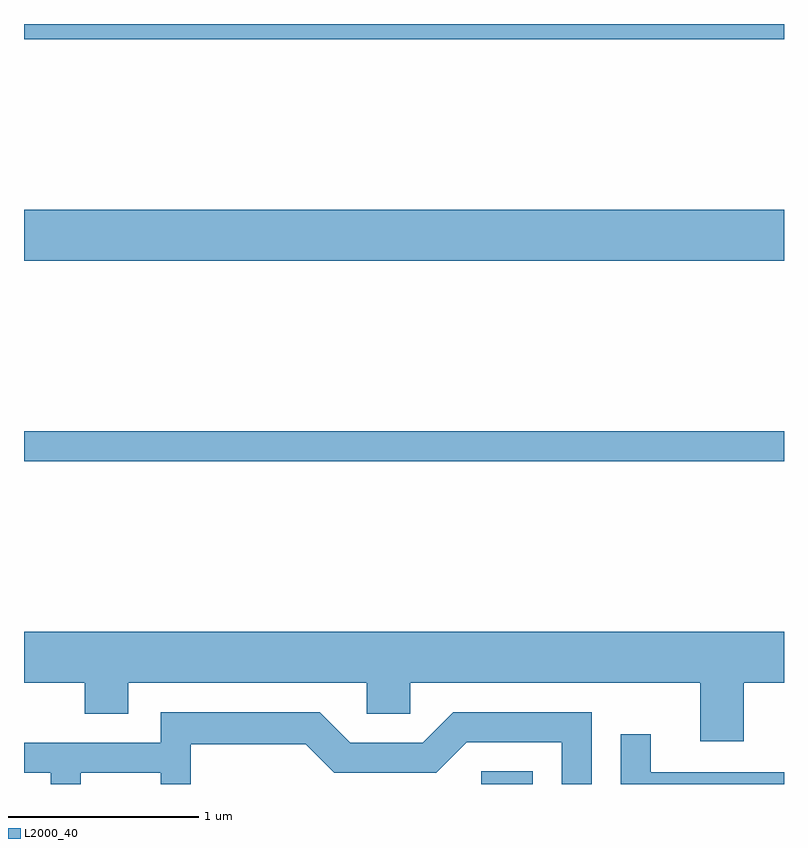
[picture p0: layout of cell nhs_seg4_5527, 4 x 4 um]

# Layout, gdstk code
import gdstk
lib = gdstk.Library(unit=1e-6, precision=1e-09)
def R(c, l, rs):  # rectangles x0, y0, x1, y1
    for r in rs: c.add(gdstk.rectangle(r[:2], r[2:], *l))
def P(c, l, *ps):  # polygons
    for p in ps: c.add(gdstk.Polygon(p, *l))
L2000_40 = (2000, 40)

nhs_seg4_5527 = lib.new_cell('nhs_seg4_5527')
R(nhs_seg4_5527, L2000_40, [(350.018,1291.982,350.289,1292.049), (347.611,1293.681,351.611,1293.839), (347.611,1294.736,351.611,1295.004), (347.611,1295.901,351.611,1295.982)])
P(nhs_seg4_5527, L2000_40, [(351.399,1292.516),(351.611,1292.516),(351.611,1292.784),(347.611,1292.784),(347.611,1292.516),(347.931,1292.516),(347.931,1292.351),(348.159,1292.351),(348.159,1292.516),(349.416,1292.516),(349.416,1292.351),(349.644,1292.351),(349.644,1292.516),(351.171,1292.516),(351.171,1292.206),(351.399,1292.206)],
  [(347.909,1292.041),(348.331,1292.041),(348.331,1291.982),(348.489,1291.982),(348.489,1292.191),(349.094,1292.191),(349.244,1292.041),(349.782,1292.041),(349.942,1292.201),(350.441,1292.201),(350.441,1291.982),(350.599,1291.982),(350.599,1292.359),(349.869,1292.359),(349.709,1292.199),(349.327,1292.199),(349.167,1292.359),(348.331,1292.359),(348.331,1292.199),(347.611,1292.199),(347.611,1292.041),(347.751,1292.041),(347.751,1291.982),(347.909,1291.982)],
  [(351.611,1292.044),(350.909,1292.044),(350.909,1292.243),(350.751,1292.243),(350.751,1291.982),(351.611,1291.982)])

lib.write_gds('nhs_seg4_5527.gds')
